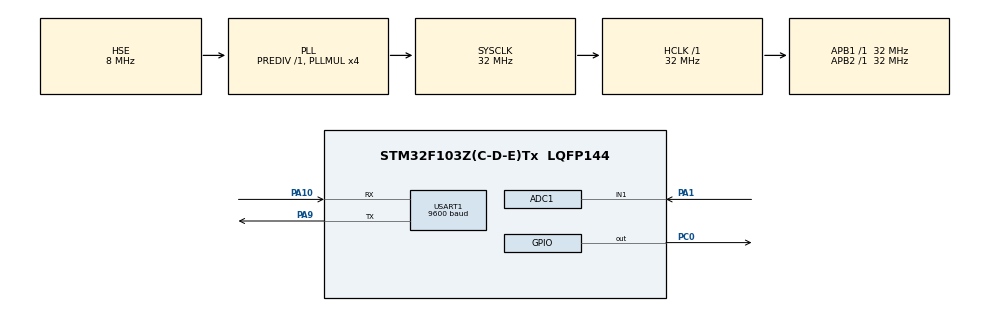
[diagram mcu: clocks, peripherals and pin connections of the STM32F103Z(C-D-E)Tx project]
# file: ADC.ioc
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ADC1.Channel-1\#ChannelRegularConversion=ADC_CHANNEL_1
ADC1.NbrOfConversionFlag=1
ADC1.Rank-1\#ChannelRegularConversion=1
ADC1.SamplingTime-1\#ChannelRegularConversion=ADC_SAMPLETIME_1CYCLE_5
ADC1.master=1
Mcu.Family=STM32F1
Mcu.Name=STM32F103Z(C-D-E)Tx
Mcu.Package=LQFP144
NVIC.ADC1_2_IRQn=true\:0\:0\:false\:false\:true\:true\:true
NVIC.PriorityGroup=NVIC_PRIORITYGROUP_4
NVIC.USART1_IRQn=true\:0\:0\:false\:false\:true\:true\:true
OSC_IN.Mode=HSE-External-Oscillator
OSC_IN.Signal=RCC_OSC_IN
OSC_OUT.Mode=HSE-External-Oscillator
OSC_OUT.Signal=RCC_OSC_OUT
PA1.Signal=ADCx_IN1
PA10.Mode=Asynchronous
PA10.Signal=USART1_RX
PA13.Mode=Trace_Synchro_4bits_JTAG
PA13.Signal=SYS_JTMS-SWDIO
PA14.Mode=Trace_Synchro_4bits_JTAG
PA14.Signal=SYS_JTCK-SWCLK
PA15.Mode=Trace_Synchro_4bits_JTAG
PA15.Signal=SYS_JTDI
PA9.Mode=Asynchronous
PA9.Signal=USART1_TX
PB3.Mode=Trace_Synchro_4bits_JTAG
PB3.Signal=SYS_JTDO-TRACESWO
PC0.Signal=GPIO_Output
PC14-OSC32_IN.Mode=LSE-External-Oscillator
PC14-OSC32_IN.Signal=RCC_OSC32_IN
PC15-OSC32_OUT.Mode=LSE-External-Oscillator
PC15-OSC32_OUT.Signal=RCC_OSC32_OUT
PE2.Mode=Trace_Synchro_4bits_JTAG
PE2.Signal=SYS_TRACECLK
PE3.Mode=Trace_Synchro_4bits_JTAG
PE3.Signal=SYS_TRACED0
PE4.Mode=Trace_Synchro_4bits_JTAG
PE4.Signal=SYS_TRACED1
PE5.Mode=Trace_Synchro_4bits_JTAG
PE5.Signal=SYS_TRACED2
PE6.Mode=Trace_Synchro_4bits_JTAG
PE6.Signal=SYS_TRACED3
ProjectManager.HeapSize=0x200
ProjectManager.StackSize=0x400
ProjectManager.TargetToolchain=MDK-ARM V5.27
RCC.ADCPresc=RCC_ADCPCLK2_DIV4
RCC.AHBFreq_Value=32000000
RCC.APB1Freq_Value=32000000
RCC.APB1TimFreq_Value=32000000
RCC.APB2Freq_Value=32000000
RCC.APB2TimFreq_Value=32000000
RCC.HCLKFreq_Value=32000000
RCC.PLLMUL=RCC_PLL_MUL4
RCC.PLLSourceVirtual=RCC_PLLSOURCE_HSE
RCC.SYSCLKFreq_VALUE=32000000
RCC.SYSCLKSource=RCC_SYSCLKSOURCE_PLLCLK
RCC.USBFreq_Value=32000000
SH.ADCx_IN1.0=ADC1_IN1,IN1
USART1.BaudRate=9600
USART1.VirtualMode=VM_ASYNC
board=custom

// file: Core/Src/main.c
/* USER CODE BEGIN Header */
/**
  ******************************************************************************
  * @file           : main.c
  * @brief          : Main program body
  ******************************************************************************
  * @attention
  *
  * <h2><center>&copy; Copyright (c) 2020 STMicroelectronics.
  * All rights reserved.</center></h2>
  *
  * This software component is licensed by ST under BSD 3-Clause license,
  * the "License"; You may not use this file except in compliance with the
  * License. You may obtain a copy of the License at:
  *                        opensource.org/licenses/BSD-3-Clause
  *
  ******************************************************************************
  */
/* USER CODE END Header */
#include "main.h"
#include "adc.h"
#include "usart.h"
#include "gpio.h"

/* USER CODE BEGIN Includes */

#include "stdio.h"

/* USER CODE END Includes */

void SystemClock_Config(void);

/* USER CODE BEGIN 0 */
#define ledk HAL_GPIO_WritePin(GPIOC,GPIO_PIN_0,GPIO_PIN_RESET)
#define ledg HAL_GPIO_WritePin(GPIOC,GPIO_PIN_0,GPIO_PIN_SET)

uint8_t adc_value=0,adc_v=0;
uint8_t str_buff[64];

/*串口向上位机发送查询结果*/
void USART_RX()
{
	sprintf((char *)str_buff,"查询值为：%d,电压值为：%d.%d%d\r\n",adc_value,adc_v/100,adc_v%100/10,adc_v%10);
	HAL_UART_Transmit(&huart1,str_buff,sizeof(str_buff),10000);
}

void GET_ADC_Value()
{
	HAL_ADC_Start(&hadc1);
	ledk;
	if(HAL_OK==HAL_ADC_PollForConversion(&hadc1,10))
	{

		adc_value=HAL_ADC_GetValue(&hadc1);
		adc_v=adc_value*330/4096;

	}
	USART_RX();
	ledg;
	HAL_ADC_Stop(&hadc1);
}

void HAL_ADC_ConvCpltCallback(ADC_HandleTypeDef* hadc)
{
	if(hadc->Instance==ADC1)
	{
		adc_value=HAL_ADC_GetValue(&hadc1);
		adc_v=adc_value*330/4096;

	}

	USART_RX();
		ledg;
}

/* USER CODE END 0 */

int main(void)
{

  /* MCU Configuration--------------------------------------------------------*/

  /* Reset of all peripherals, Initializes the Flash interface and the Systick. */
  HAL_Init();

  /* Configure the system clock */
  SystemClock_Config();

  /* Initialize all configured peripherals */
  MX_GPIO_Init();
  MX_ADC1_Init();
  MX_USART1_UART_Init();

  /* Infinite loop */
  /* USER CODE BEGIN WHILE */
  while (1)
  {

		GET_ADC_Value();
		HAL_Delay(1000);

		HAL_ADC_Start_IT(&hadc1);
		ledk;
		HAL_Delay(1000);

		/* USER CODE END WHILE */

  }
}

void SystemClock_Config(void)
{
  RCC_OscInitTypeDef RCC_OscInitStruct = {0};
  RCC_ClkInitTypeDef RCC_ClkInitStruct = {0};
  RCC_PeriphCLKInitTypeDef PeriphClkInit = {0};

  /** Initializes the RCC Oscillators according to the specified parameters
  * in the RCC_OscInitTypeDef structure.
  */
  RCC_OscInitStruct.OscillatorType = RCC_OSCILLATORTYPE_HSE;
  RCC_OscInitStruct.HSEState = RCC_HSE_ON;
  RCC_OscInitStruct.HSEPredivValue = RCC_HSE_PREDIV_DIV1;
  RCC_OscInitStruct.HSIState = RCC_HSI_ON;
  RCC_OscInitStruct.PLL.PLLState = RCC_PLL_ON;
  RCC_OscInitStruct.PLL.PLLSource = RCC_PLLSOURCE_HSE;
  RCC_OscInitStruct.PLL.PLLMUL = RCC_PLL_MUL4;
  if (HAL_RCC_OscConfig(&RCC_OscInitStruct) != HAL_OK)
  {
    Error_Handler();
  }
  /** Initializes the CPU, AHB and APB buses clocks
  */
  RCC_ClkInitStruct.ClockType = RCC_CLOCKTYPE_HCLK|RCC_CLOCKTYPE_SYSCLK
                              |RCC_CLOCKTYPE_PCLK1|RCC_CLOCKTYPE_PCLK2;
  RCC_ClkInitStruct.SYSCLKSource = RCC_SYSCLKSOURCE_PLLCLK;
  RCC_ClkInitStruct.AHBCLKDivider = RCC_SYSCLK_DIV1;
  RCC_ClkInitStruct.APB1CLKDivider = RCC_HCLK_DIV1;
  RCC_ClkInitStruct.APB2CLKDivider = RCC_HCLK_DIV1;

  if (HAL_RCC_ClockConfig(&RCC_ClkInitStruct, FLASH_LATENCY_1) != HAL_OK)
  {
    Error_Handler();
  }
  PeriphClkInit.PeriphClockSelection = RCC_PERIPHCLK_ADC;
  PeriphClkInit.AdcClockSelection = RCC_ADCPCLK2_DIV4;
  if (HAL_RCCEx_PeriphCLKConfig(&PeriphClkInit) != HAL_OK)
  {
    Error_Handler();
  }
}

void Error_Handler(void)
{
}

/************************ (C) COPYRIGHT STMicroelectronics *****END OF FILE****/
